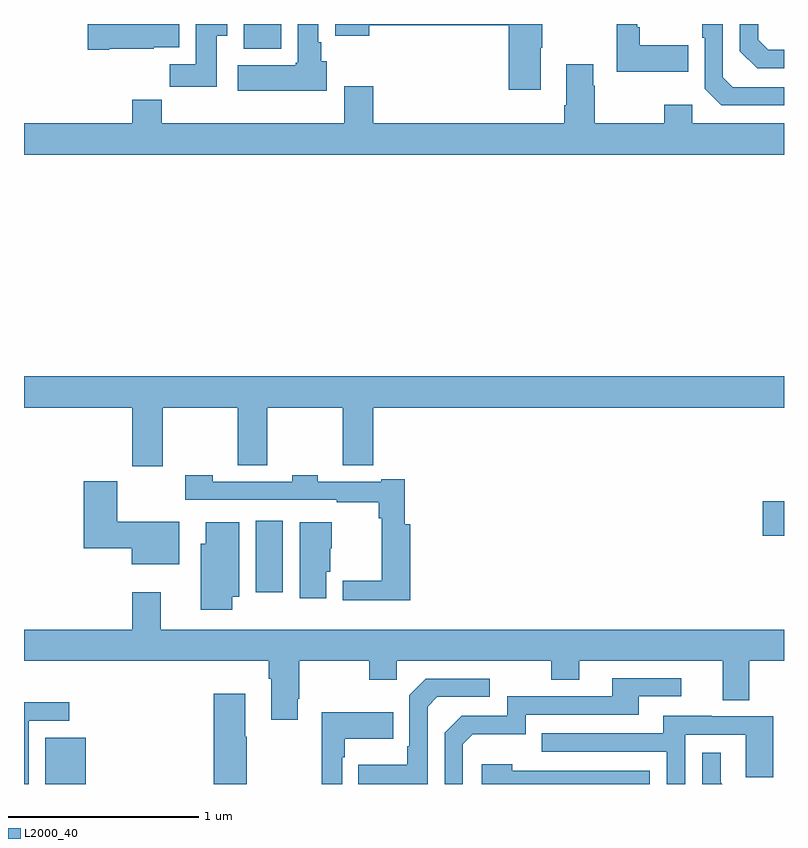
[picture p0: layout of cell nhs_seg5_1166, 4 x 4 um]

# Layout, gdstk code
import gdstk
lib = gdstk.Library(unit=1e-6, precision=1e-09)
def R(c, l, rs):  # rectangles x0, y0, x1, y1
    for r in rs: c.add(gdstk.rectangle(r[:2], r[2:], *l))
def P(c, l, *ps):  # polygons
    for p in ps: c.add(gdstk.Polygon(p, *l))
L2000_40 = (2000, 40)

nhs_seg5_1166 = lib.new_cell('nhs_seg5_1166')
R(nhs_seg5_1166, L2000_40, [(183.113,834.799,183.325,835.042), (184.22,835.809,184.363,836.185), (186.888,836.105,187,836.288), (184.157,838.67,184.354,838.799)])
P(nhs_seg5_1166, L2000_40, [(186.497,838.687),(186.241,838.687),(186.241,838.783),(186.228,838.783),(186.228,838.799),(186.12,838.799),(186.12,838.547),(186.497,838.547)],
  [(184.015,838.736),(184.069,838.736),(184.069,838.799),(183.905,838.799),(183.905,838.588),(183.766,838.588),(183.766,838.47),(184.015,838.47)],
  [(185.719,838.675),(185.727,838.675),(185.727,838.799),(184.637,838.799),(184.637,838.736),(184.816,838.736),(184.816,838.792),(185.552,838.792),(185.552,838.452),(185.719,838.452)],
  [(184.594,838.602),(184.564,838.602),(184.564,838.702),(184.549,838.702),(184.549,838.799),(184.442,838.799),(184.442,838.596),(184.429,838.596),(184.429,838.582),(184.125,838.582),(184.125,838.448),(184.594,838.448)],
  [(183.448,838.67),(183.684,838.67),(183.684,838.676),(183.817,838.676),(183.817,838.799),(183.336,838.799),(183.336,838.663),(183.448,838.663)],
  [(187,838.663),(186.917,838.663),(186.864,838.716),(186.864,838.799),(186.768,838.799),(186.768,838.656),(186.858,838.566),(187,838.566)],
  [(187,838.467),(186.729,838.467),(186.678,838.518),(186.678,838.799),(186.57,838.799),(186.57,838.727),(186.582,838.727),(186.582,838.458),(186.669,838.371),(187,838.371)],
  [(187,838.276),(186.516,838.276),(186.516,838.375),(186.37,838.375),(186.37,838.276),(186.003,838.276),(186.003,838.475),(185.995,838.475),(185.995,838.588),(185.855,838.588),(185.855,838.372),(185.843,838.372),(185.843,838.276),(184.838,838.276),(184.838,838.471),(184.685,838.471),(184.685,838.276),(183.725,838.276),(183.725,838.4),(183.569,838.4),(183.569,838.276),(183,838.276),(183,838.112),(187,838.112)],
  [(183.729,836.78),(184.126,836.78),(184.126,836.476),(184.28,836.476),(184.28,836.78),(184.678,836.78),(184.678,836.476),(184.838,836.476),(184.838,836.78),(187,836.78),(187,836.944),(183,836.944),(183,836.78),(183.569,836.78),(183.569,836.472),(183.729,836.472)],
  [(185.033,836.167),(185.003,836.167),(185.003,836.404),(184.88,836.404),(184.88,836.391),(184.545,836.391),(184.545,836.424),(184.413,836.424),(184.413,836.391),(183.993,836.391),(183.993,836.424),(183.849,836.424),(183.849,836.295),(184.645,836.295),(184.645,836.283),(184.867,836.283),(184.867,836.198),(184.882,836.198),(184.882,835.868),(184.677,835.868),(184.677,835.766),(185.033,835.766)],
  [(183.817,836.179),(183.492,836.179),(183.492,836.392),(183.314,836.392),(183.314,836.039),(183.566,836.039),(183.566,835.955),(183.817,835.955)],
  [(184.095,835.784),(184.132,835.784),(184.132,836.176),(183.956,836.176),(183.956,836.064),(183.929,836.064),(183.929,835.716),(184.095,835.716)],
  [(184.591,835.917),(184.612,835.917),(184.612,836.04),(184.621,836.04),(184.621,836.176),(184.451,836.176),(184.451,835.776),(184.591,835.776)],
  [(184.441,835.249),(184.449,835.249),(184.449,835.448),(184.816,835.448),(184.816,835.349),(184.962,835.349),(184.962,835.448),(185.776,835.448),(185.776,835.349),(185.923,835.349),(185.923,835.448),(186.677,835.448),(186.677,835.24),(186.817,835.24),(186.817,835.448),(187,835.448),(187,835.612),(183.721,835.612),(183.721,835.807),(183.569,835.807),(183.569,835.612),(183,835.612),(183,835.448),(184.289,835.448),(184.289,835.352),(184.301,835.352),(184.301,835.137),(184.441,835.137)],
  [(185.31,835.008),(185.363,835.061),(185.64,835.061),(185.64,835.164),(186.235,835.164),(186.235,835.26),(186.46,835.26),(186.46,835.356),(186.095,835.356),(186.095,835.26),(185.544,835.26),(185.544,835.158),(185.304,835.158),(185.214,835.068),(185.214,834.799),(185.31,834.799)],
  [(185.124,835.206),(185.175,835.257),(185.452,835.257),(185.452,835.353),(185.115,835.353),(185.028,835.266),(185.028,834.997),(185.016,834.997),(185.016,834.901),(184.759,834.901),(184.759,834.799),(185.124,834.799)],
  [(184.173,835.049),(184.165,835.049),(184.165,835.273),(183.998,835.273),(183.998,834.799),(184.173,834.799)],
  [(183.024,835.131),(183.238,835.131),(183.238,835.23),(183,835.23),(183,834.799),(183.024,834.799)],
  [(184.674,834.941),(184.687,834.941),(184.687,835.037),(184.943,835.037),(184.943,835.177),(184.566,835.177),(184.566,834.799),(184.674,834.799)],
  [(186.48,835.059),(186.798,835.059),(186.798,834.835),(186.943,834.835),(186.943,835.155),(186.619,835.155),(186.619,835.159),(186.365,835.159),(186.365,835.065),(185.725,835.065),(185.725,834.969),(186.384,834.969),(186.384,834.799),(186.48,834.799)],
  [(186.667,834.807),(186.667,834.964),(186.57,834.964),(186.57,834.799),(186.675,834.799)],
  [(186.294,834.87),(185.57,834.87),(185.57,834.904),(185.409,834.904),(185.409,834.799),(186.294,834.799)])

lib.write_gds('nhs_seg5_1166.gds')
